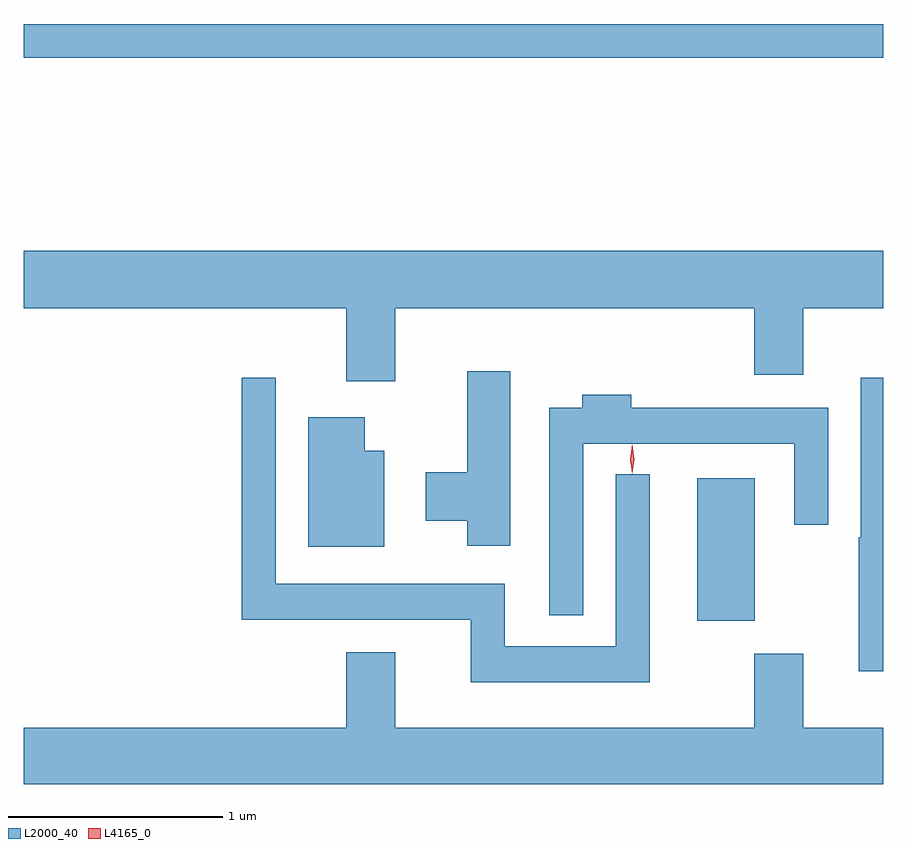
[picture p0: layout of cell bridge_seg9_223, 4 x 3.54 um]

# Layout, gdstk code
import gdstk
lib = gdstk.Library(unit=1e-6, precision=1e-09)
def R(c, l, rs):  # rectangles x0, y0, x1, y1
    for r in rs: c.add(gdstk.rectangle(r[:2], r[2:], *l))
def P(c, l, *ps):  # polygons
    for p in ps: c.add(gdstk.Polygon(p, *l))
L2000_40 = (2000, 40)
L4165_0 = (4165, 0)

bridge_seg9_223 = lib.new_cell('bridge_seg9_223')
R(bridge_seg9_223, L2000_40, [(1487.686,1972.601,1487.954,1973.264), (1484.551,1975.221,1488.551,1975.379)])
P(bridge_seg9_223, L2000_40, [(1486.279,1974.056),(1487.951,1974.056),(1487.951,1973.746),(1488.179,1973.746),(1488.179,1974.056),(1488.551,1974.056),(1488.551,1974.324),(1484.551,1974.324),(1484.551,1974.056),(1486.051,1974.056),(1486.051,1973.716),(1486.279,1973.716)],
  [(1486.814,1973.764),(1486.616,1973.764),(1486.616,1973.294),(1486.421,1973.294),(1486.421,1973.066),(1486.616,1973.066),(1486.616,1972.951),(1486.814,1972.951)],
  [(1487.464,1973.283),(1487.306,1973.283),(1487.306,1972.484),(1486.789,1972.484),(1486.789,1972.774),(1485.724,1972.774),(1485.724,1973.733),(1485.566,1973.733),(1485.566,1972.606),(1486.631,1972.606),(1486.631,1972.316),(1487.464,1972.316)],
  [(1488.551,1973.733),(1488.446,1973.733),(1488.446,1972.99),(1488.436,1972.99),(1488.436,1972.366),(1488.551,1972.366)],
  [(1487.154,1973.426),(1488.136,1973.426),(1488.136,1973.048),(1488.294,1973.048),(1488.294,1973.594),(1487.379,1973.594),(1487.379,1973.654),(1487.151,1973.654),(1487.151,1973.594),(1486.996,1973.594),(1486.996,1972.628),(1487.154,1972.628)],
  [(1486.229,1973.394),(1486.139,1973.394),(1486.139,1973.549),(1485.876,1973.549),(1485.876,1972.946),(1486.229,1972.946)],
  [(1488.551,1972.104),(1488.179,1972.104),(1488.179,1972.449),(1487.951,1972.449),(1487.951,1972.104),(1486.279,1972.104),(1486.279,1972.454),(1486.051,1972.454),(1486.051,1972.104),(1484.551,1972.104),(1484.551,1971.842),(1488.551,1971.842)])
P(bridge_seg9_223, L4165_0, [(1487.384,1973.287),(1487.383,1973.288),(1487.373,1973.354),(1487.382,1973.42),(1487.383,1973.42),(1487.384,1973.42),(1487.393,1973.354),(1487.384,1973.288)])

lib.write_gds('bridge_seg9_223.gds')
